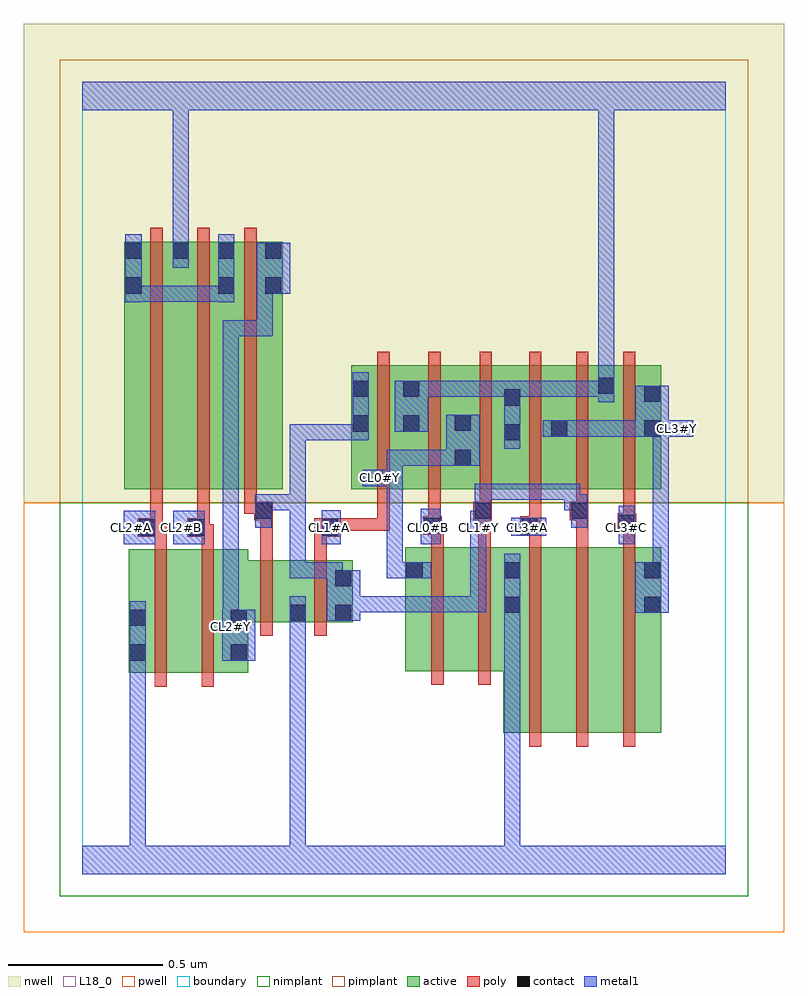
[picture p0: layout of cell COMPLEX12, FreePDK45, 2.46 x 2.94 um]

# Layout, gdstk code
import gdstk
lib = gdstk.Library(unit=1e-6, precision=1e-09)
def R(c, l, rs):  # rectangles x0, y0, x1, y1
    for r in rs: c.add(gdstk.rectangle(r[:2], r[2:], *l))
def A(c, l, x, y, w, h, nx, ny, dx, dy):  # array of equal rectangles
    R(c, l, [(x+i*dx, y+j*dy, x+i*dx+w, y+j*dy+h) for i in range(nx) for j in range(ny)])
active = (1, 0)
pwell = (2, 0)
nwell = (3, 0)
nimplant = (4, 0)
pimplant = (5, 0)
poly = (9, 0)
contact = (10, 0)
metal1 = (11, 0)
L18_0 = (18, 0)
boundary = (235, 0)

complex12 = lib.new_cell('COMPLEX12')
R(complex12, active, [(1.36,0.456,1.42,1.056), (1.36,0.456,1.54,1.056), (1.54,0.456,1.692,1.056), (1.692,0.456,1.872,1.056), (1.812,0.456,1.872,1.056), (0.15,0.65,0.33,1.05), (0.15,0.65,0.21,1.05), (0.33,0.65,0.536,1.05), (1.044,0.656,1.224,1.056), (1.044,0.656,1.104,1.056), (1.224,0.656,1.42,1.056), (0.476,0.686,0.536,1.012), (0.476,0.814,0.726,1.014), (0.666,0.814,0.874,1.014), (0.666,0.814,0.726,0.902), (0.814,0.814,0.874,1.014), (0.136,1.244,0.196,2.044), (0.136,1.244,0.348,2.044), (0.288,1.244,0.348,2.044), (0.288,1.244,0.496,2.044), (0.436,1.244,0.496,2.044), (0.436,1.244,0.648,2.044), (0.588,1.244,0.648,2.044), (0.87,1.244,0.93,1.644), (0.87,1.244,1.094,1.644), (1.034,1.244,1.26,1.644), (1.2,1.244,1.42,1.644), (1.36,1.244,1.572,1.644), (1.512,1.244,1.724,1.644), (1.664,1.244,1.724,1.644), (1.664,1.244,1.872,1.644), (1.812,1.244,1.872,1.644), (1.2,1.316,1.26,1.644), (1.034,1.338,1.094,1.644), (1.36,1.398,1.42,1.644), (1.512,1.41,1.572,1.644)])
R(complex12, pwell, [(-0.188,-0.188,2.268,1.2)])
R(complex12, nwell, [(-0.188,1.2,2.268,2.748)])
R(complex12, nimplant, [(-0.072,-0.072,2.152,1.2)])
R(complex12, pimplant, [(-0.072,1.2,2.152,2.632)])
A(complex12, poly, 1.444, 0.412, 0.04, 0.688, 3, 1, 0.152, 0)
A(complex12, poly, 0.22, 1.2, 0.04, 0.888, 3, 1, 0.152, 0)
A(complex12, poly, 1.444, 1.2, 0.04, 0.488, 3, 1, 0.152, 0)
R(complex12, poly, [(0.234,0.606,0.274,1.094), (0.386,0.606,0.426,1.094), (1.128,0.612,1.168,1.1), (1.28,0.612,1.32,1.1), (0.576,0.77,0.616,1.058), (0.75,0.77,0.79,1.058), (0.576,1.018,0.616,1.184), (0.75,1.018,0.79,1.13), (0.234,1.054,0.274,1.13), (0.386,1.054,0.426,1.13), (1.128,1.06,1.168,1.136), (1.28,1.06,1.32,1.184), (1.444,1.06,1.484,1.136), (1.596,1.06,1.636,1.184), (1.748,1.06,1.788,1.146), (0.18,1.09,0.26,1.15), (0.22,1.09,0.26,1.13), (0.22,1.09,0.274,1.13), (0.34,1.09,0.412,1.15), (0.372,1.09,0.412,1.13), (0.372,1.09,0.426,1.13), (0.75,1.09,0.83,1.15), (1.102,1.096,1.162,1.156), (1.122,1.096,1.162,1.136), (1.122,1.096,1.168,1.136), (1.416,1.096,1.484,1.156), (1.73,1.106,1.79,1.166), (0.22,1.11,0.26,1.24), (0.372,1.11,0.412,1.24), (0.79,1.11,0.83,1.15), (0.79,1.11,0.994,1.15), (0.954,1.11,0.994,1.24), (1.118,1.116,1.158,1.24), (1.444,1.116,1.484,1.156), (1.444,1.116,1.484,1.156), (1.444,1.116,1.484,1.24), (1.748,1.126,1.788,1.24), (1.748,1.126,1.788,1.166), (1.748,1.126,1.788,1.166), (0.556,1.144,0.616,1.204), (1.264,1.144,1.324,1.204), (1.28,1.144,1.32,1.184), (1.28,1.144,1.32,1.184), (1.576,1.144,1.636,1.204), (1.596,1.144,1.636,1.184), (1.596,1.144,1.636,1.184), (0.524,1.164,0.564,1.24), (0.524,1.164,0.596,1.204), (0.556,1.164,0.596,1.204), (1.284,1.164,1.324,1.24), (1.596,1.164,1.636,1.24), (0.954,1.2,0.994,1.688), (1.118,1.2,1.158,1.688), (1.284,1.2,1.324,1.688)])
R(complex12, contact, [(0.154,0.69,0.206,0.742), (0.48,0.69,0.532,0.742), (0.154,0.802,0.206,0.854), (0.48,0.802,0.532,0.854), (0.67,0.818,0.722,0.87), (0.818,0.818,0.87,0.87), (1.364,0.844,1.416,0.896), (1.816,0.844,1.868,0.896), (0.818,0.93,0.87,0.982), (1.048,0.956,1.1,1.008), (1.364,0.956,1.416,1.008), (1.816,0.956,1.868,1.008), (0.184,1.094,0.236,1.146), (0.344,1.094,0.396,1.146), (0.774,1.094,0.826,1.146), (1.106,1.1,1.158,1.152), (1.42,1.1,1.472,1.152), (1.734,1.11,1.786,1.162), (0.56,1.148,0.612,1.2), (1.268,1.148,1.32,1.2), (1.58,1.148,1.632,1.2), (1.204,1.32,1.256,1.372), (1.364,1.402,1.416,1.454), (1.516,1.414,1.568,1.466), (1.816,1.414,1.868,1.466), (0.874,1.43,0.926,1.482), (1.038,1.43,1.09,1.482), (1.204,1.432,1.256,1.484), (1.364,1.514,1.416,1.566), (1.816,1.526,1.868,1.578), (0.874,1.542,0.926,1.594), (1.038,1.542,1.09,1.594), (1.668,1.552,1.72,1.604), (0.14,1.876,0.192,1.928), (0.44,1.876,0.492,1.928), (0.592,1.876,0.644,1.928), (0.14,1.988,0.192,2.04), (0.292,1.988,0.344,2.04), (0.44,1.988,0.492,2.04), (0.592,1.988,0.644,2.04)])
R(complex12, metal1, [(0,0,2.08,0.092), (0.154,0.04,0.206,0.092), (0.154,0.04,0.206,0.092), (0.154,0.04,0.206,0.092), (0.154,0.04,0.206,0.092), (0.154,0.04,0.206,0.714), (0.67,0.04,0.722,0.092), (0.67,0.04,0.722,0.092), (0.67,0.04,0.722,0.092), (0.67,0.04,0.722,0.092), (0.67,0.04,0.722,0.092), (0.67,0.04,0.722,0.092), (0.67,0.04,0.722,0.842), (1.364,0.04,1.416,0.092), (1.364,0.04,1.416,0.092), (1.364,0.04,1.416,0.092), (1.364,0.04,1.416,0.092), (1.364,0.04,1.416,0.092), (1.364,0.04,1.416,0.092), (1.364,0.04,1.416,0.092), (1.364,0.04,1.416,0.092), (1.364,0.04,1.416,0.868), (0.154,0.662,0.206,0.714), (0.154,0.662,0.206,0.714), (0.154,0.662,0.206,0.714), (0.154,0.662,0.206,0.714), (0.154,0.662,0.206,0.714), (0.154,0.662,0.206,0.714), (0.154,0.662,0.206,0.714), (0.154,0.662,0.206,0.714), (0.154,0.662,0.206,0.882), (0.452,0.69,0.56,0.854), (0.454,0.746,0.506,0.854), (0.67,0.79,0.722,0.842), (0.67,0.79,0.722,0.842), (0.67,0.79,0.722,0.842), (0.67,0.79,0.722,0.842), (0.67,0.79,0.722,0.842), (0.67,0.79,0.722,0.842), (0.67,0.79,0.722,0.842), (0.67,0.79,0.722,0.842), (0.67,0.79,0.722,0.842), (0.67,0.79,0.722,0.842), (0.67,0.79,0.722,0.898), (0.454,0.802,0.506,0.854), (0.454,0.802,0.506,1.79), (1.364,0.816,1.416,1.036), (0.79,0.818,0.898,0.982), (1.788,0.844,1.896,1.008), (0.846,0.846,1.118,0.898), (1.066,0.846,1.118,0.898), (1.066,0.846,1.118,0.898), (1.066,0.846,1.118,0.898), (1.066,0.846,1.306,0.898), (1.254,0.846,1.306,0.898), (1.254,0.846,1.306,0.898), (1.254,0.846,1.306,0.898), (1.254,0.846,1.306,0.898), (1.254,0.846,1.306,0.898), (1.254,0.846,1.306,1.118), (0.79,0.93,0.842,1.008), (0.67,0.956,0.722,1.008), (0.67,0.956,0.842,1.008), (0.67,0.956,0.722,1.228), (0.79,0.956,0.842,1.008), (0.79,0.956,0.842,1.008), (0.79,0.956,0.842,1.008), (0.984,0.956,1.036,1.306), (0.984,0.956,1.128,1.008), (1.844,0.956,1.896,1.466), (0.134,1.066,0.236,1.174), (0.294,1.066,0.396,1.174), (0.774,1.066,0.836,1.176), (1.094,1.066,1.158,1.18), (1.254,1.066,1.306,1.174), (1.734,1.066,1.786,1.19), (1.386,1.094,1.5,1.152), (0.56,1.12,0.612,1.228), (1.254,1.12,1.32,1.172), (1.268,1.12,1.32,1.262), (1.58,1.12,1.632,1.228), (0.56,1.176,0.716,1.228), (0.664,1.176,0.716,1.228), (0.664,1.176,0.722,1.228), (0.67,1.176,0.722,1.228), (0.67,1.176,0.722,1.454), (1.558,1.176,1.632,1.228), (1.558,1.176,1.61,1.262), (1.268,1.21,1.43,1.262), (1.378,1.21,1.43,1.262), (1.378,1.21,1.43,1.262), (1.378,1.21,1.43,1.262), (1.378,1.21,1.61,1.262), (0.906,1.254,1.036,1.306), (0.984,1.254,1.036,1.306), (0.984,1.254,1.036,1.306), (0.984,1.254,1.036,1.372), (0.984,1.32,1.036,1.372), (0.984,1.32,1.036,1.372), (0.984,1.32,1.036,1.372), (0.984,1.32,1.228,1.372), (1.176,1.32,1.284,1.484), (1.364,1.374,1.416,1.594), (0.67,1.402,0.926,1.454), (0.874,1.402,0.926,1.454), (0.874,1.402,0.926,1.622), (1.488,1.414,1.596,1.466), (1.544,1.414,1.596,1.466), (1.544,1.414,1.596,1.466), (1.544,1.414,1.72,1.466), (1.668,1.414,1.72,1.466), (1.668,1.414,1.72,1.466), (1.668,1.414,1.72,1.466), (1.668,1.414,1.84,1.466), (1.788,1.414,1.896,1.578), (1.844,1.414,1.896,1.466), (1.844,1.414,1.896,1.466), (1.844,1.414,1.896,1.466), (1.844,1.414,1.974,1.466), (1.01,1.43,1.118,1.594), (1.668,1.524,1.72,1.632), (1.066,1.542,1.118,1.594), (1.066,1.542,1.118,1.594), (1.066,1.542,1.268,1.594), (1.216,1.542,1.268,1.594), (1.216,1.542,1.268,1.594), (1.216,1.542,1.268,1.594), (1.216,1.542,1.416,1.594), (1.364,1.542,1.478,1.594), (1.426,1.542,1.478,1.594), (1.426,1.542,1.61,1.594), (1.558,1.542,1.61,1.594), (1.558,1.542,1.61,1.594), (1.558,1.542,1.61,1.594), (1.558,1.542,1.72,1.594), (1.668,1.58,1.72,2.52), (0.454,1.738,0.506,1.79), (0.454,1.738,0.506,1.79), (0.454,1.738,0.506,1.79), (0.454,1.738,0.616,1.79), (0.564,1.738,0.616,1.79), (0.564,1.738,0.616,1.928), (0.14,1.848,0.192,2.068), (0.44,1.848,0.492,2.068), (0.14,1.85,0.192,1.902), (0.14,1.85,0.192,1.902), (0.14,1.85,0.382,1.902), (0.33,1.85,0.382,1.902), (0.33,1.85,0.382,1.902), (0.33,1.85,0.382,1.902), (0.33,1.85,0.492,1.902), (0.564,1.876,0.672,2.04), (0.292,1.96,0.344,2.068), (0.292,2.016,0.344,2.52), (0,2.468,2.08,2.56), (0.292,2.468,0.344,2.52), (0.292,2.468,0.344,2.52), (0.292,2.468,0.344,2.52), (0.292,2.468,0.344,2.52), (0.292,2.468,0.344,2.52), (0.292,2.468,0.344,2.52), (0.292,2.468,0.344,2.52), (0.292,2.468,0.344,2.52), (1.668,2.468,1.72,2.52), (1.668,2.468,1.72,2.52), (1.668,2.468,1.72,2.52), (1.668,2.468,1.72,2.52), (1.668,2.468,1.72,2.52), (1.668,2.468,1.72,2.52), (1.668,2.468,1.72,2.52), (1.668,2.468,1.72,2.52), (1.668,2.468,1.72,2.52), (1.668,2.468,1.72,2.52), (1.668,2.468,1.72,2.52), (1.668,2.468,1.72,2.52), (1.668,2.468,1.72,2.52), (1.668,2.468,1.72,2.52), (1.668,2.468,1.72,2.52), (1.668,2.468,1.72,2.52)])
A(complex12, L18_0, 1.094, 1.094, 0.052, 0.052, 3, 1, 0.16, 0)
R(complex12, L18_0, [(0,0,2.08,0.092), (0.154,0.04,0.206,0.092), (0.154,0.04,0.206,0.092), (0.154,0.04,0.206,0.092), (0.154,0.04,0.206,0.092), (0.154,0.04,0.206,0.714), (0.67,0.04,0.722,0.092), (0.67,0.04,0.722,0.092), (0.67,0.04,0.722,0.092), (0.67,0.04,0.722,0.092), (0.67,0.04,0.722,0.092), (0.67,0.04,0.722,0.092), (0.67,0.04,0.722,0.842), (1.364,0.04,1.416,0.092), (1.364,0.04,1.416,0.092), (1.364,0.04,1.416,0.092), (1.364,0.04,1.416,0.092), (1.364,0.04,1.416,0.092), (1.364,0.04,1.416,0.092), (1.364,0.04,1.416,0.092), (1.364,0.04,1.416,0.092), (1.364,0.04,1.416,0.868), (0.154,0.662,0.206,0.714), (0.154,0.662,0.206,0.714), (0.154,0.662,0.206,0.714), (0.154,0.662,0.206,0.714), (0.154,0.662,0.206,0.714), (0.154,0.662,0.206,0.714), (0.154,0.662,0.206,0.714), (0.154,0.662,0.206,0.714), (0.154,0.662,0.206,0.882), (0.452,0.69,0.56,0.854), (0.454,0.746,0.506,0.854), (0.454,0.774,0.506,0.826), (0.67,0.79,0.722,0.842), (0.67,0.79,0.722,0.842), (0.67,0.79,0.722,0.842), (0.67,0.79,0.722,0.842), (0.67,0.79,0.722,0.842), (0.67,0.79,0.722,0.842), (0.67,0.79,0.722,0.842), (0.67,0.79,0.722,0.842), (0.67,0.79,0.722,0.842), (0.67,0.79,0.722,0.842), (0.67,0.79,0.722,0.898), (0.454,0.802,0.506,0.854), (0.454,0.802,0.506,1.79), (1.364,0.816,1.416,1.036), (0.79,0.818,0.898,0.982), (1.788,0.844,1.896,1.008), (0.846,0.846,1.118,0.898), (1.066,0.846,1.118,0.898), (1.066,0.846,1.118,0.898), (1.066,0.846,1.118,0.898), (1.066,0.846,1.306,0.898), (1.254,0.846,1.306,0.898), (1.254,0.846,1.306,0.898), (1.254,0.846,1.306,0.898), (1.254,0.846,1.306,0.898), (1.254,0.846,1.306,0.898), (1.254,0.846,1.306,1.118), (0.79,0.93,0.842,1.008), (0.67,0.956,0.722,1.008), (0.67,0.956,0.722,1.228), (0.67,0.956,0.842,1.008), (0.79,0.956,0.842,1.008), (0.79,0.956,0.842,1.008), (0.79,0.956,0.842,1.008), (0.984,0.956,1.128,1.008), (0.984,0.956,1.036,1.306), (1.844,0.956,1.896,1.466), (0.134,1.066,0.236,1.174), (0.294,1.066,0.396,1.174), (0.774,1.066,0.836,1.176), (1.094,1.066,1.158,1.18), (1.254,1.066,1.306,1.174), (1.734,1.066,1.786,1.19), (0.134,1.094,0.186,1.146), (0.294,1.094,0.346,1.146), (0.774,1.094,0.826,1.146), (1.386,1.094,1.5,1.152), (1.734,1.094,1.786,1.146), (0.56,1.12,0.612,1.228), (1.254,1.12,1.32,1.172), (1.268,1.12,1.32,1.262), (1.58,1.12,1.632,1.228), (0.56,1.176,0.716,1.228), (0.664,1.176,0.716,1.228), (0.664,1.176,0.722,1.228), (0.67,1.176,0.722,1.228), (0.67,1.176,0.722,1.454), (1.558,1.176,1.61,1.262), (1.558,1.176,1.632,1.228), (1.268,1.21,1.43,1.262), (1.378,1.21,1.43,1.262), (1.378,1.21,1.43,1.262), (1.378,1.21,1.43,1.262), (1.378,1.21,1.61,1.262), (0.906,1.254,1.036,1.306), (0.934,1.254,0.986,1.306), (0.984,1.254,1.036,1.306), (0.984,1.254,1.036,1.306), (0.984,1.254,1.036,1.372), (0.984,1.32,1.036,1.372), (0.984,1.32,1.036,1.372), (0.984,1.32,1.036,1.372), (0.984,1.32,1.228,1.372), (1.176,1.32,1.284,1.484), (1.364,1.374,1.416,1.594), (0.67,1.402,0.926,1.454), (0.874,1.402,0.926,1.454), (0.874,1.402,0.926,1.622), (1.488,1.414,1.596,1.466), (1.544,1.414,1.596,1.466), (1.544,1.414,1.596,1.466), (1.544,1.414,1.72,1.466), (1.668,1.414,1.72,1.466), (1.668,1.414,1.72,1.466), (1.668,1.414,1.72,1.466), (1.668,1.414,1.84,1.466), (1.788,1.414,1.896,1.578), (1.844,1.414,1.896,1.466), (1.844,1.414,1.896,1.466), (1.844,1.414,1.896,1.466), (1.844,1.414,1.974,1.466), (1.894,1.414,1.946,1.466), (1.01,1.43,1.118,1.594), (1.668,1.524,1.72,1.632), (1.066,1.542,1.118,1.594), (1.066,1.542,1.118,1.594), (1.066,1.542,1.268,1.594), (1.216,1.542,1.268,1.594), (1.216,1.542,1.268,1.594), (1.216,1.542,1.268,1.594), (1.216,1.542,1.416,1.594), (1.364,1.542,1.478,1.594), (1.426,1.542,1.478,1.594), (1.426,1.542,1.61,1.594), (1.558,1.542,1.61,1.594), (1.558,1.542,1.61,1.594), (1.558,1.542,1.61,1.594), (1.558,1.542,1.72,1.594), (1.668,1.58,1.72,2.52), (0.454,1.738,0.506,1.79), (0.454,1.738,0.506,1.79), (0.454,1.738,0.506,1.79), (0.454,1.738,0.616,1.79), (0.564,1.738,0.616,1.79), (0.564,1.738,0.616,1.928), (0.564,1.876,0.672,2.04), (0.292,1.96,0.344,2.068), (0.292,2.016,0.344,2.52), (0,2.468,2.08,2.56), (0.292,2.468,0.344,2.52), (0.292,2.468,0.344,2.52), (0.292,2.468,0.344,2.52), (0.292,2.468,0.344,2.52), (0.292,2.468,0.344,2.52), (0.292,2.468,0.344,2.52), (0.292,2.468,0.344,2.52), (0.292,2.468,0.344,2.52), (1.668,2.468,1.72,2.52), (1.668,2.468,1.72,2.52), (1.668,2.468,1.72,2.52), (1.668,2.468,1.72,2.52), (1.668,2.468,1.72,2.52), (1.668,2.468,1.72,2.52), (1.668,2.468,1.72,2.52), (1.668,2.468,1.72,2.52), (1.668,2.468,1.72,2.52), (1.668,2.468,1.72,2.52), (1.668,2.468,1.72,2.52), (1.668,2.468,1.72,2.52), (1.668,2.468,1.72,2.52), (1.668,2.468,1.72,2.52), (1.668,2.468,1.72,2.52), (1.668,2.468,1.72,2.52)])
R(complex12, boundary, [(0,0,2.08,2.56)])
complex12.add(gdstk.Label('CL0#B', (1.12,1.12), layer=11, texttype=0))
complex12.add(gdstk.Label('CL0#Y', (0.96,1.28), layer=11, texttype=0))
complex12.add(gdstk.Label('CL1#A', (0.8,1.12), layer=11, texttype=0))
complex12.add(gdstk.Label('CL1#Y', (1.28,1.12), layer=11, texttype=0))
complex12.add(gdstk.Label('CL2#A', (0.16,1.12), layer=11, texttype=0))
complex12.add(gdstk.Label('CL2#B', (0.32,1.12), layer=11, texttype=0))
complex12.add(gdstk.Label('CL2#Y', (0.48,0.8), layer=11, texttype=0))
complex12.add(gdstk.Label('CL3#A', (1.44,1.12), layer=11, texttype=0))
complex12.add(gdstk.Label('CL3#C', (1.76,1.12), layer=11, texttype=0))
complex12.add(gdstk.Label('CL3#Y', (1.92,1.44), layer=11, texttype=0))

lib.write_gds('COMPLEX12.gds')
